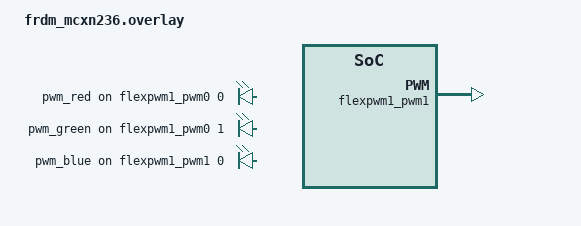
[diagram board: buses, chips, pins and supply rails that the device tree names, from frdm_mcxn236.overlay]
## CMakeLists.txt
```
# SPDX-License-Identifier: Apache-2.0

cmake_minimum_required(VERSION 3.20.0)

find_package(Zephyr REQUIRED HINTS $ENV{ZEPHYR_BASE})

project(exercise-16)

FILE(GLOB app_sources src/*.c)

target_sources(app PRIVATE ${app_sources})
```

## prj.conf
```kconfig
CONFIG_PWM=y
CONFIG_CONSOLE_SUBSYS=y
CONFIG_CONSOLE_GETCHAR=y
```

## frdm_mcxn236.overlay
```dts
#include <zephyr/dt-bindings/pwm/pwm.h>

/ {
    pwmleds {
        compatible = "pwm-leds";
        pwm_red: pwm_red {
            pwms = <&flexpwm1_pwm0 0 10000000 PWM_POLARITY_NORMAL>;
        };
        pwm_green: pwm_green {
            pwms = <&flexpwm1_pwm0 1 10000000 PWM_POLARITY_NORMAL>;
        };
        pwm_blue: pwm_blue {
            pwms = <&flexpwm1_pwm1 0 10000000 PWM_POLARITY_NORMAL>;
        };
    };
};

&flexpwm1_pwm1 {
    status = "okay";
	pinctrl-0 = <&pinmux_flexpwm1_pwm1>;
	pinctrl-names = "default";
};
```

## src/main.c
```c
#include <stdlib.h>
#include <zephyr/kernel.h>
#include <zephyr/sys_clock.h>
#include <zephyr/drivers/pwm.h>
#include <zephyr/console/console.h>

#define RED_PWM_NODE DT_NODELABEL(pwm_red)
#define RED_PWM_PERIOD DT_PWMS_PERIOD(RED_PWM_NODE)

#define GREEN_PWM_NODE DT_NODELABEL(pwm_green)
#define GREEN_PWM_PERIOD DT_PWMS_PERIOD(GREEN_PWM_NODE)

#define BLUE_PWM_NODE DT_NODELABEL(pwm_blue)
#define BLUE_PWM_PERIOD DT_PWMS_PERIOD(BLUE_PWM_NODE)

int main(void)
{
	const struct pwm_dt_spec red_led = PWM_DT_SPEC_GET(RED_PWM_NODE);
	if (!pwm_is_ready_dt(&red_led))
	{
		printf("Failed to find %s device\n", DT_NODE_FULL_NAME(RED_PWM_NODE));
		exit(EXIT_FAILURE);
	}

	const struct pwm_dt_spec green_led = PWM_DT_SPEC_GET(GREEN_PWM_NODE);
	if (!pwm_is_ready_dt(&green_led))
	{
		printf("Failed to find %s device\n", DT_NODE_FULL_NAME(GREEN_PWM_NODE));
		exit(EXIT_FAILURE);
	}

	const struct pwm_dt_spec blue_led = PWM_DT_SPEC_GET(BLUE_PWM_NODE);
	if (!pwm_is_ready_dt(&blue_led))
	{
		printf("Failed to find %s device\n", DT_NODE_FULL_NAME(BLUE_PWM_NODE));
		exit(EXIT_FAILURE);
	}

	console_init();

	printk("Press any key to continue ...");
	(void)console_getchar();
	srand((uint32_t)k_uptime_ticks());

	uint32_t pulse_width;

	while (1)
	{
		pulse_width = rand() % (RED_PWM_PERIOD + 1);
		if (0 != pwm_set_pulse_dt(&red_led, pulse_width))
		{
			printf("Failed to set the red pulse width.\n");
			exit(EXIT_FAILURE);
		}
		printf("R = %08u, ", pulse_width);

		k_sleep(K_NSEC(RED_PWM_PERIOD)); // One period delay to let the driver/hardware clear the 'busy' state
		pulse_width = rand() % (GREEN_PWM_PERIOD + 1);
		if (0 != pwm_set_pulse_dt(&green_led, pulse_width))
		{
			printf("Failed to set the green pulse width.\n");
			exit(EXIT_FAILURE);
		}
		printf("G = %08u, ", pulse_width);

		pulse_width = rand() % (BLUE_PWM_PERIOD + 1);
		if (0 != pwm_set_pulse_dt(&blue_led, pulse_width))
		{
			printf("Failed to set the blue pulse width.\n");
			exit(EXIT_FAILURE);
		}

		printf("B = %08u\n", pulse_width);

		k_sleep(K_MSEC(250));
	}

	return 0;
}
```
